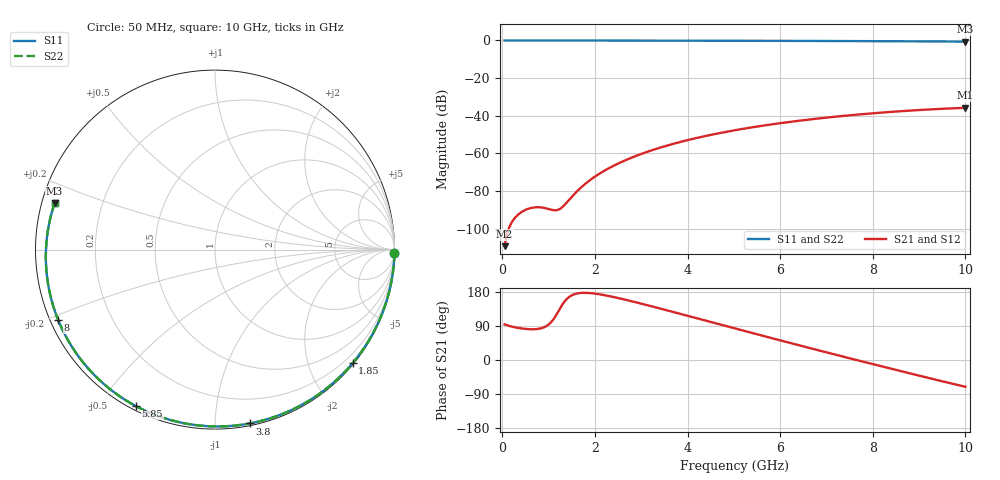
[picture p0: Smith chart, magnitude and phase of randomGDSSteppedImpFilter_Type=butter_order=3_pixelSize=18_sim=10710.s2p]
! freq	dB(S11)	phase(S11)	dB(S12)	phase(S12)
!  dB(S21)	phase(S21)	dB(S22)	phase(S22)
!S-par simulation data
#  GHz  S  DB  R 50
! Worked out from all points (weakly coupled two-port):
!   200 points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, 50 MHz to 10 GHz, reference 50 ohm
!   highest |S21| = -35.75 dB at 10 GHz (marker M1); lowest = -109.2 dB at 50 MHz (marker M2)
!   lowest |S11| = -0.6 dB at 10 GHz (marker M3), VSWR 27.74, Z = 1.84 + j7.08 ohm
!   |S11| at or under -10 dB: nowhere
!   |S22| runs from -0.6 to 0.0 dB; largest |S21 - S12| = 0
!   S11 on the Smith chart (normalised r, x): 50 MHz: open; 1.85 GHz: 0.03, -2.78; 3.8 GHz: 0.02, -1.22; 5.85 GHz: 0.02, -0.62; 8 GHz: 0.02, -0.21; 10 GHz: 0.04, +0.14
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0.05  -0.00 -1.1  -109.19 94.0  -109.19 94.0  -0.00 -1.1
0.4  -0.01 -8.7  -91.33 83.6  -91.33 83.6  -0.01 -8.7
0.8  -0.02 -17.3  -88.54 82.6  -88.54 82.6  -0.02 -17.3
1.6  -0.04 -34.3  -80.39 175.1  -80.39 175.1  -0.04 -34.3
1.65  -0.04 -35.4  -79.19 176.3  -79.19 176.3  -0.04 -35.4
1.75  -0.05 -37.5  -76.96 177.3  -76.96 177.3  -0.05 -37.5
1.85  -0.05 -39.5  -74.95 177.0  -74.95 177.0  -0.05 -39.5
2.15  -0.06 -45.7  -69.93 172.4  -69.93 172.4  -0.06 -45.8
2.5  -0.07 -52.9  -65.35 163.6  -65.35 163.6  -0.07 -52.9
2.9  -0.08 -61.0  -61.16 151.9  -61.16 151.9  -0.08 -61.0
3.4  -0.09 -70.9  -56.95 136.1  -56.95 136.1  -0.09 -70.9
3.8  -0.11 -78.6  -54.16 123.2  -54.16 123.2  -0.11 -78.6
4.4  -0.13 -90.0  -50.65 103.7  -50.65 103.7  -0.13 -90.1
5.05  -0.16 -102.1  -47.54 82.5  -47.54 82.5  -0.16 -102.1
5.85  -0.20 -116.7  -44.42 56.6  -44.42 56.6  -0.20 -116.7
6.7  -0.26 -132.1  -41.76 29.6  -41.76 29.6  -0.26 -132.1
7.35  -0.31 -143.9  -40.08 9.2  -40.08 9.2  -0.31 -143.9
8  -0.38 -155.9  -38.66 -10.9  -38.66 -10.9  -0.38 -155.9
8.35  -0.41 -162.5  -37.99 -21.6  -37.99 -21.6  -0.41 -162.5
9.2  -0.52 -179.2  -36.65 -47.3  -36.65 -47.3  -0.52 -179.2
9.6  -0.57 172.5  -36.16 -59.1  -36.16 -59.1  -0.57 172.5
10  -0.63 163.9  -35.75 -70.8  -35.75 -70.8  -0.63 163.8
